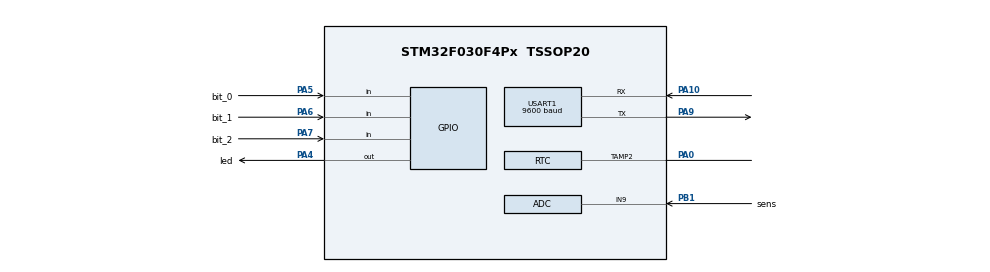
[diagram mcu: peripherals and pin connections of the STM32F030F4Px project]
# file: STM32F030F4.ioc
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ADC.LowPowerAutoPowerOff=ENABLE
ADC.LowPowerAutoWait=ENABLE
Mcu.Family=STM32F0
Mcu.Name=STM32F030F4Px
Mcu.Package=TSSOP20
NVIC.ADC1_IRQn=true\:0\:0\:false\:false\:true\:true
NVIC.RTC_IRQn=true\:0\:0\:false\:false\:true\:true
PA0.Mode=Tamper 2 enabled
PA0.Signal=RTC_TAMP2
PA10.Mode=Asynchronous
PA10.Signal=USART1_RX
PA13.Mode=Serial_Wire
PA13.Signal=SYS_SWDIO
PA14.Mode=Serial_Wire
PA14.Signal=SYS_SWCLK
PA4.GPIO_Label=led
PA4.Signal=GPIO_Output
PA5.GPIO_Label=bit_0
PA5.Signal=GPIO_Input
PA6.GPIO_Label=bit_1
PA6.Signal=GPIO_Input
PA7.GPIO_Label=bit_2
PA7.Signal=GPIO_Input
PA9.Mode=Asynchronous
PA9.Signal=USART1_TX
PB1.GPIO_Label=sens
PB1.Mode=IN9
PB1.Signal=ADC_IN9
ProjectManager.HeapSize=0x200
ProjectManager.StackSize=0x400
ProjectManager.TargetToolchain=TrueSTUDIO
RCC.AHBCLKDivider=RCC_SYSCLK_DIV8
RCC.AHBFreq_Value=1000000
RCC.APB1Freq_Value=1000000
RCC.APB1TimFreq_Value=1000000
RCC.HCLKFreq_Value=1000000
RTC.Alarm=RTC_ALARM_A
RTC.Format=RTC_FORMAT_BCD
RTC.Hours=1
RTC.Hours_A=1
RTC.Seconds=0
RTC.Seconds_A=5
USART1.BaudRate=9600
USART1.DMADisableonRxErrorParam=ADVFEATURE_DMA_DISABLEONRXERROR
USART1.OverrunDisableParam=ADVFEATURE_OVERRUN_DISABLE
USART1.VirtualMode-Asynchronous=VM_ASYNC
VP_RTC_VS_RTC_Activate.Mode=RTC_Enabled
VP_RTC_VS_RTC_Alarm_A_Intern.Mode=Alarm A
VP_RTC_VS_RTC_Calendar.Mode=RTC_Calendar
board=custom

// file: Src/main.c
/* USER CODE BEGIN Header */
/**
  ******************************************************************************
  * @file           : main.c
  * @brief          : Main program body
  ******************************************************************************
  ** This notice applies to any and all portions of this file
  * that are not between comment pairs USER CODE BEGIN and
  * USER CODE END. Other portions of this file, whether
  * inserted by the user or by software development tools
  * are owned by their respective copyright owners.
  *
  * COPYRIGHT(c) 2019 STMicroelectronics
  *
  * Redistribution and use in source and binary forms, with or without modification,
  * are permitted provided that the following conditions are met:
  *   1. Redistributions of source code must retain the above copyright notice,
  *      this list of conditions and the following disclaimer.
  *   2. Redistributions in binary form must reproduce the above copyright notice,
  *      this list of conditions and the following disclaimer in the documentation
  *      and/or other materials provided with the distribution.
  *   3. Neither the name of STMicroelectronics nor the names of its contributors
  *      may be used to endorse or promote products derived from this software
  *      without specific prior written permission.
  *
  * THIS SOFTWARE IS PROVIDED BY THE COPYRIGHT HOLDERS AND CONTRIBUTORS "AS IS"
  * AND ANY EXPRESS OR IMPLIED WARRANTIES, INCLUDING, BUT NOT LIMITED TO, THE
  * IMPLIED WARRANTIES OF MERCHANTABILITY AND FITNESS FOR A PARTICULAR PURPOSE ARE
  * DISCLAIMED. IN NO EVENT SHALL THE COPYRIGHT HOLDER OR CONTRIBUTORS BE LIABLE
  * FOR ANY DIRECT, INDIRECT, INCIDENTAL, SPECIAL, EXEMPLARY, OR CONSEQUENTIAL
  * DAMAGES (INCLUDING, BUT NOT LIMITED TO, PROCUREMENT OF SUBSTITUTE GOODS OR
  * SERVICES; LOSS OF USE, DATA, OR PROFITS; OR BUSINESS INTERRUPTION) HOWEVER
  * CAUSED AND ON ANY THEORY OF LIABILITY, WHETHER IN CONTRACT, STRICT LIABILITY,
  * OR TORT (INCLUDING NEGLIGENCE OR OTHERWISE) ARISING IN ANY WAY OUT OF THE USE
  * OF THIS SOFTWARE, EVEN IF ADVISED OF THE POSSIBILITY OF SUCH DAMAGE.
  *
  ******************************************************************************
  */
/* USER CODE END Header */

#include "main.h"
#include "adc.h"
#include "rtc.h"
#include "usart.h"
#include "gpio.h"

void SystemClock_Config(void);

int main(void)
{
  /* USER CODE BEGIN 1 */
    uint16_t sens_analog = 0;

  /* USER CODE END 1 */

  /* MCU Configuration--------------------------------------------------------*/

  /* Reset of all peripherals, Initializes the Flash interface and the Systick. */
  HAL_Init();

  /* Configure the system clock */
  SystemClock_Config();

  /* Initialize all configured peripherals */
  MX_GPIO_Init();
  MX_ADC_Init();
  MX_RTC_Init();
  MX_USART1_UART_Init();

  /* Infinite loop */

    /* USER CODE BEGIN 3 */
     char buffer[16];
    int i = 0;
    int sec = 0;
    int  flag_ON_OFF = 0;
    uint8_t M1[2] = {'M', '0'};

    uint8_t data_1[4] = {0};

    if((HAL_GPIO_ReadPin(GPIOA, bit_0_Pin)==GPIO_PIN_RESET) &&
    		(HAL_GPIO_ReadPin(GPIOA, bit_1_Pin)==GPIO_PIN_RESET) &&
			(HAL_GPIO_ReadPin(GPIOA, bit_2_Pin)==GPIO_PIN_RESET) )

                  {
    	             M1[0] ='M';
    	             M1[1] ='1';
                  }
    if((HAL_GPIO_ReadPin(GPIOA, bit_0_Pin)==GPIO_PIN_SET) &&
       		(HAL_GPIO_ReadPin(GPIOA, bit_1_Pin)==GPIO_PIN_RESET) &&
   			(HAL_GPIO_ReadPin(GPIOA, bit_2_Pin)==GPIO_PIN_RESET) )

                     {
    	                     M1[0] ='M';
    	    	             M1[1] ='2';
                     }
    if((HAL_GPIO_ReadPin(GPIOA, bit_0_Pin)==GPIO_PIN_RESET) &&
           		(HAL_GPIO_ReadPin(GPIOA, bit_1_Pin)==GPIO_PIN_SET) &&
       			(HAL_GPIO_ReadPin(GPIOA, bit_2_Pin)==GPIO_PIN_RESET) )

                         {
    	                     M1[0] ='M';
    	    	             M1[1] ='3';
                         }
    if((HAL_GPIO_ReadPin(GPIOA, bit_0_Pin)==GPIO_PIN_SET) &&
              		(HAL_GPIO_ReadPin(GPIOA, bit_1_Pin)==GPIO_PIN_SET) &&
          			(HAL_GPIO_ReadPin(GPIOA, bit_2_Pin)==GPIO_PIN_RESET) )

                            {
    	                     M1[0] ='M';
    	    	             M1[1] ='4';
                            }
    if((HAL_GPIO_ReadPin(GPIOA, bit_0_Pin)==GPIO_PIN_RESET) &&
                 		(HAL_GPIO_ReadPin(GPIOA, bit_1_Pin)==GPIO_PIN_RESET) &&
             			(HAL_GPIO_ReadPin(GPIOA, bit_2_Pin)==GPIO_PIN_SET) )

                               {
    	                     M1[0] ='M';
    	    	             M1[1] ='5';
                               }

    HAL_UART_Transmit(&huart1, M1, 2, 500);

    uint8_t data_srav[4] ={ M1[0], M1[1], '1', '\n'};
    uint8_t data_srav_off[4] = {M1[0],  M1[1], '0', '\n'};
    char flag_uart = 0;

    while (1)
    {

        HAL_UART_Receive(&huart1, data_1, 4, 15);

        if (huart1.RxXferCount == 0)
        {
        	flag_uart = 1;
        	sec = 0;
            //HAL_UART_Transmit(&huart1, data_1, 4, 500);
            if ((data_1[0] == data_srav[0]) & (data_1[1] == data_srav[1]) & (data_1[2] == data_srav[2]) & (data_1[3] == data_srav[3]))
            {
                flag_ON_OFF = 1;
                HAL_UART_Transmit(&huart1, data_1, 4, 500);
            }
            if ((data_1[0] == data_srav_off[0]) & (data_1[1] == data_srav_off[1]) & (data_1[2] == data_srav_off[2]) & (data_1[3] == data_srav_off[3]))
            {
                flag_ON_OFF = 0;
                HAL_UART_Transmit(&huart1, data_1, 4, 500);
            }

        }

        if (((HAL_GetTick() - i) > 100)  ) // ЩИТАЕМ КОЛИЧЕСТВО СЕКУНД
        {
            i = HAL_GetTick();
            sec++;
            //HAL_UART_Transmit(&huart1, (uint8_t*)buffer, sprintf(buffer, "-------\n"), 500);
           // HAL_UART_Transmit(&huart1, (uint8_t*)buffer, sprintf(buffer, "%d\n", sens_analog), 500);
           // HAL_UART_Transmit(&huart1, (uint8_t*)buffer, sprintf(buffer, "second = %d\n", sec), 500);
            if (sec > 600 ){
            	flag_uart = 0;
            }
        }

        if (flag_ON_OFF == 1){
        	HAL_GPIO_WritePin(led_GPIO_Port, led_Pin, GPIO_PIN_RESET);
        	HAL_ADC_Start(&hadc);                  // запуск аналоговоко
        	HAL_ADC_PollForConversion(&hadc, 100); // запуск преобразований
        	sens_analog = HAL_ADC_GetValue(&hadc); // считываем данные
        	HAL_ADC_Stop(&hadc);                   // остановка ацп
        	if ( sens_analog > 400 )
             {
        	HAL_UART_Transmit(&huart1, M1, 2, 10);
        	HAL_UART_Transmit(&huart1, (uint8_t*)buffer, sprintf(buffer, "%d\n", sens_analog), 5);
             }
        }
        else {
        	HAL_GPIO_WritePin(led_GPIO_Port, led_Pin, GPIO_PIN_SET);
        }

        if (((sec > 1) & (flag_uart == 0))||(sec > 600 ) )
        {

            MX_RTC_Init(); // запускаем rts будильник
                // сон -------------------------------------
            //HAL_Delay(500);
            sec = 0;
            __HAL_PWR_CLEAR_FLAG(PWR_FLAG_WU);
            HAL_PWR_EnableWakeUpPin(PWR_WAKEUP_PIN1);
            HAL_PWR_EnterSTANDBYMode();
            HAL_ResumeTick();

            //--------------------------------------------------
        }
    }
  /* USER CODE END 3 */
}

void SystemClock_Config(void)
{
  RCC_OscInitTypeDef RCC_OscInitStruct = {0};
  RCC_ClkInitTypeDef RCC_ClkInitStruct = {0};
  RCC_PeriphCLKInitTypeDef PeriphClkInit = {0};

  /**Initializes the CPU, AHB and APB busses clocks
  */
  RCC_OscInitStruct.OscillatorType = RCC_OSCILLATORTYPE_HSI|RCC_OSCILLATORTYPE_HSI14
                              |RCC_OSCILLATORTYPE_LSI;
  RCC_OscInitStruct.HSIState = RCC_HSI_ON;
  RCC_OscInitStruct.HSI14State = RCC_HSI14_ON;
  RCC_OscInitStruct.HSICalibrationValue = RCC_HSICALIBRATION_DEFAULT;
  RCC_OscInitStruct.HSI14CalibrationValue = 16;
  RCC_OscInitStruct.LSIState = RCC_LSI_ON;
  RCC_OscInitStruct.PLL.PLLState = RCC_PLL_NONE;
  if (HAL_RCC_OscConfig(&RCC_OscInitStruct) != HAL_OK)
  {
    Error_Handler();
  }
  /**Initializes the CPU, AHB and APB busses clocks
  */
  RCC_ClkInitStruct.ClockType = RCC_CLOCKTYPE_HCLK|RCC_CLOCKTYPE_SYSCLK
                              |RCC_CLOCKTYPE_PCLK1;
  RCC_ClkInitStruct.SYSCLKSource = RCC_SYSCLKSOURCE_HSI;
  RCC_ClkInitStruct.AHBCLKDivider = RCC_SYSCLK_DIV8;
  RCC_ClkInitStruct.APB1CLKDivider = RCC_HCLK_DIV1;

  if (HAL_RCC_ClockConfig(&RCC_ClkInitStruct, FLASH_LATENCY_0) != HAL_OK)
  {
    Error_Handler();
  }
  PeriphClkInit.PeriphClockSelection = RCC_PERIPHCLK_USART1|RCC_PERIPHCLK_RTC;
  PeriphClkInit.Usart1ClockSelection = RCC_USART1CLKSOURCE_PCLK1;
  PeriphClkInit.RTCClockSelection = RCC_RTCCLKSOURCE_LSI;
  if (HAL_RCCEx_PeriphCLKConfig(&PeriphClkInit) != HAL_OK)
  {
    Error_Handler();
  }
}

void Error_Handler(void)
{
}

/************************ (C) COPYRIGHT STMicroelectronics *****END OF FILE****/
